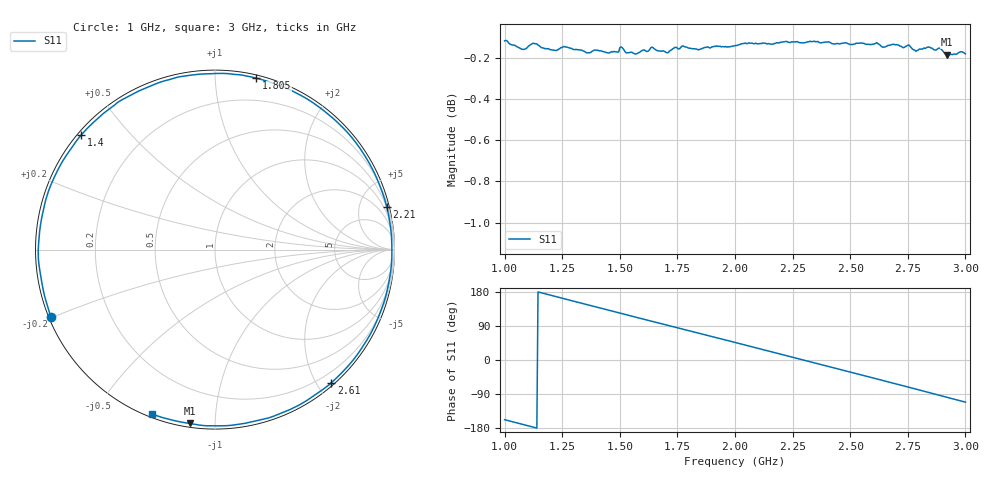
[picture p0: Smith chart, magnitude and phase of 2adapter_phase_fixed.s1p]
!  02.03.2026  10:52:13
! Ref Plane: 0.000 mm
# MHZ S MA R  50
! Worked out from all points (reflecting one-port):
!   401 points, 1 GHz to 3 GHz, reference 50 ohm
!   lowest |S11| = -0.2 dB at 2.92 GHz (marker M1), VSWR 94.28, Z = 0.926 - j43.2 ohm
!   phase of S11 starts at -158 deg and turns -314 deg over the sweep
!   S11 on the Smith chart (normalised r, x): 1 GHz: 0.01, -0.20; 1.4 GHz: 0.01, +0.37; 1.805 GHz: 0.02, +1.27; 2.21 GHz: 0.49, +8.24; 2.61 GHz: 0.04, -2.20; 3 GHz: 0.02, -0.68
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1000  0.9866 -157.5
1060  0.983 -167.0
1130  0.9851 -178.2
1190  0.9823 172.6
1250  0.9829 162.9
1320  0.9817 152.1
1400  0.9814 139.5
1500  0.9828 123.9
1570  0.9794 112.9
1635  0.9829 102.8
1690  0.981 94.3
1750  0.9826 85.0
1805  0.9825 76.6
1905  0.9833 61.1
2000  0.984 46.4
2105  0.985 30.1
2210  0.986 13.8
2250  0.986 7.6
2320  0.9861 -3.4
2380  0.9857 -12.8
2440  0.9851 -22.2
2500  0.9846 -31.6
2610  0.9851 -48.9
2680  0.9845 -60.2
2750  0.9842 -71.2
2840  0.9832 -85.6
2920  0.979 -98.3
3000  0.9795 -111.2
